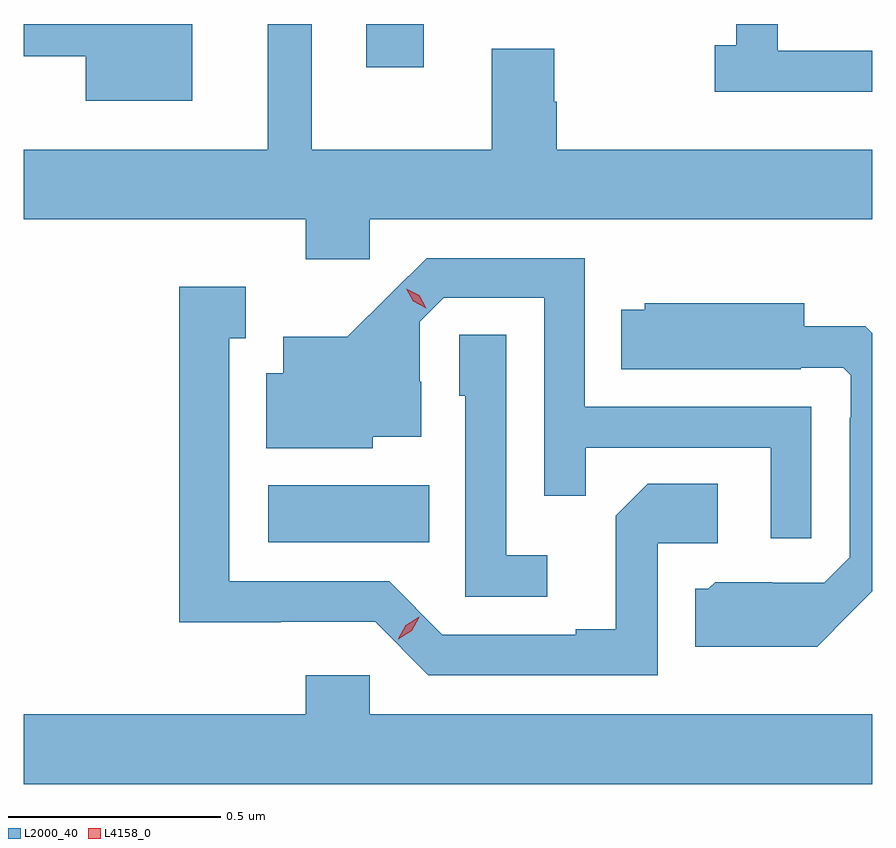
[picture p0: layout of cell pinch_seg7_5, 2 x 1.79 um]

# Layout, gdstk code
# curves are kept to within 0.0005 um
import gdstk
lib = gdstk.Library(unit=1e-6, precision=1e-09)
def R(c, l, rs):  # rectangles x0, y0, x1, y1
    for r in rs: c.add(gdstk.rectangle(r[:2], r[2:], *l))
def P(c, l, *ps):  # polygons
    for p in ps: c.add(gdstk.Polygon(p, *l))
L2000_40 = (2000, 40)
L4158_0 = (4158, 0)

pinch_seg7_5 = lib.new_cell('pinch_seg7_5')
R(pinch_seg7_5, L2000_40, [(1036.254,1043.81,1036.634,1043.944), (1036.485,1044.93,1036.621,1045.032)])
P(pinch_seg7_5, L2000_40, [(1036.494,1044.572),(1037.678,1044.572),(1037.678,1044.736),(1036.934,1044.736),(1036.934,1044.849),(1036.929,1044.849),(1036.929,1044.974),(1036.781,1044.974),(1036.781,1044.736),(1036.357,1044.736),(1036.357,1045.032),(1036.253,1045.032),(1036.253,1044.736),(1035.678,1044.736),(1035.678,1044.572),(1036.343,1044.572),(1036.343,1044.477),(1036.494,1044.477)],
  [(1036.075,1045.032),(1035.678,1045.032),(1035.678,1044.956),(1035.824,1044.956),(1035.824,1044.851),(1036.075,1044.851)],
  [(1037.678,1044.969),(1037.455,1044.969),(1037.455,1045.032),(1037.358,1045.032),(1037.358,1044.982),(1037.307,1044.982),(1037.307,1044.872),(1037.678,1044.872)],
  [(1037.535,1044.129),(1037.001,1044.129),(1037.001,1044.48),(1036.628,1044.48),(1036.441,1044.295),(1036.289,1044.295),(1036.289,1044.208),(1036.25,1044.208),(1036.25,1044.032),(1036.5,1044.032),(1036.5,1044.059),(1036.615,1044.059),(1036.615,1044.188),(1036.611,1044.188),(1036.611,1044.33),(1036.668,1044.387),(1036.905,1044.387),(1036.905,1043.92),(1037.003,1043.92),(1037.003,1044.033),(1037.439,1044.033),(1037.439,1043.82),(1037.535,1043.82)],
  [(1037.172,1043.808),(1037.314,1043.808),(1037.314,1043.948),(1037.149,1043.948),(1037.073,1043.872),(1037.073,1043.605),(1036.979,1043.605),(1036.979,1043.592),(1036.665,1043.592),(1036.539,1043.718),(1036.162,1043.718),(1036.162,1044.291),(1036.201,1044.291),(1036.201,1044.412),(1036.044,1044.412),(1036.044,1043.621),(1036.284,1043.621),(1036.284,1043.622),(1036.506,1043.622),(1036.632,1043.496),(1037.172,1043.496)],
  [(1037.629,1043.645),(1037.678,1043.695),(1037.678,1044.303),(1037.662,1044.319),(1037.518,1044.319),(1037.518,1044.373),(1037.142,1044.373),(1037.142,1044.358),(1037.086,1044.358),(1037.086,1044.218),(1037.51,1044.218),(1037.51,1044.222),(1037.61,1044.222),(1037.628,1044.204),(1037.628,1044.104),(1037.625,1044.104),(1037.625,1043.775),(1037.565,1043.715),(1037.442,1043.715),(1037.442,1043.716),(1037.308,1043.716),(1037.292,1043.7),(1037.261,1043.7),(1037.261,1043.564),(1037.549,1043.564)],
  [(1036.912,1043.779),(1036.815,1043.779),(1036.815,1044.299),(1036.704,1044.299),(1036.704,1044.156),(1036.719,1044.156),(1036.719,1043.682),(1036.912,1043.682)],
  [(1037.678,1043.404),(1036.494,1043.404),(1036.494,1043.497),(1036.343,1043.497),(1036.343,1043.404),(1035.678,1043.404),(1035.678,1043.24),(1037.678,1043.24)])
P(pinch_seg7_5, L4158_0, [(1036.627,1044.362),(1036.596,1044.378),(1036.579,1044.408),(1036.579,1044.408),(1036.579,1044.408),(1036.61,1044.392),(1036.627,1044.362),(1036.627,1044.362)],
  [(1036.561,1043.581),(1036.561,1043.582),(1036.578,1043.614),(1036.61,1043.634),(1036.61,1043.634),(1036.61,1043.633),(1036.593,1043.601),(1036.561,1043.581)])

lib.write_gds('pinch_seg7_5.gds')
